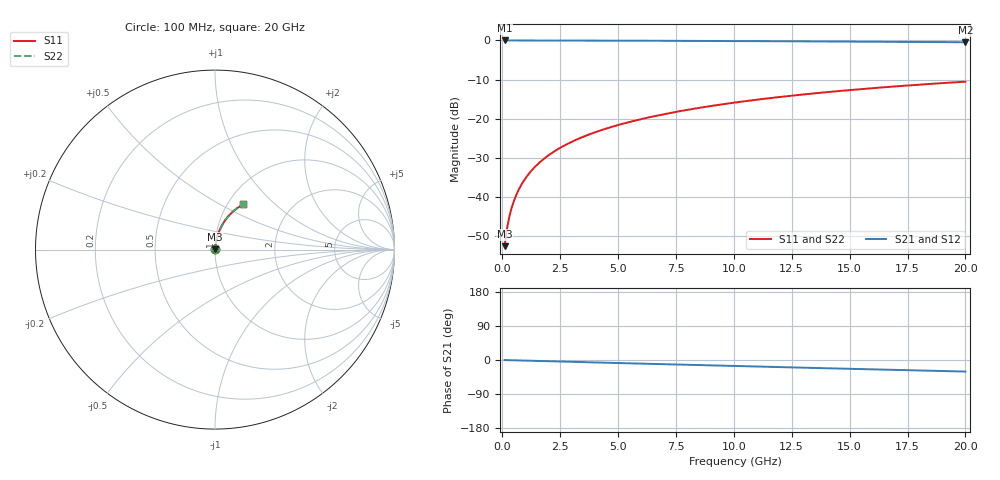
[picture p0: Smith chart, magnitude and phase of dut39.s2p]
! Touchstone file exported from HFSS 2026.1.0
!  File:  C:/ffzhzh/LocalFiles/Ansys_Project_Files/temp_train_BSMRDL_39_1782882349_13352.aedt
!  Generated:  01:07:08 PM Jul  1, 2026
!  Design:  BSMRDL
!  Project:  temp_train_BSMRDL_39_1782882349_13352
! Variables:
!  h_bsmrdl = 5.81um
!  h_ox = 20um
!  h_rdl = 5um
!  h_sub = 80um
!  h_tmrdl = 5um
!  h_tsv = 80um
!  h_via = 3um
!  l_bsmrdl = 425.81um
!  l_sub = 825.81um
!  l_tmrdl = 200um
!  m_sub = 200um
!  pitch = 48.39um
!  r_tsv = 6um
!  s_tmrdl = 10um
!  w_bsmrdl = 19.34um
!  w_sub = 500um
!  w_tmrdl = 12um
!  x_tsv_center1 = 206um
!  x_tsv_center2 = 651.15um
!  x_tsv_center3 = 863.15um
!  x_tsv_center4 = 1308.3um
!  x_tsv_center5 = 1520.3um
!  x_tsv_center6 = 1965.45um
# GHz S MA R 50.000000
! Terminal data exported
! Port[1] = BSM_RDL1_1_T1
! Port[2] = BSM_RDL1_1_T2
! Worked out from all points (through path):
!   200 points, 100 MHz to 20 GHz, reference 50 ohm
!   highest |S21| = -0.01 dB at 100 MHz (marker M1); lowest = -0.5 dB at 20 GHz (marker M2)
!   group delay of S21, straight-line fit = 4.23 ps
!   lowest |S11| = -52.6 dB at 100 MHz (marker M3), VSWR 1.00, Z = 50.1 + j0.182 ohm
!   |S11| at or under -10 dB: start of sweep to end of sweep
!   |S22| runs from -52.6 to -10.6 dB; largest |S21 - S12| = 3.6e-15
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0.1  0.002337 50.8  0.9985 -0.2  0.9985 -0.2  0.002337 50.8
! Gamma 0 0 0 0
! Port Impedance 50 0 50 0
0.2  0.003886 66.1  0.9984 -0.3  0.9984 -0.3  0.003886 66.1
0.3  0.00551 72.4  0.9984 -0.5  0.9984 -0.5  0.00551 72.4
0.4  0.007158 75.9  0.9983 -0.7  0.9983 -0.7  0.007158 75.9
0.5  0.008822 78.1  0.9983 -0.8  0.9983 -0.8  0.008822 78.1
0.7  0.01218 80.5  0.9982 -1.1  0.9982 -1.1  0.01218 80.5
0.8  0.01386 81.2  0.9981 -1.3  0.9981 -1.3  0.01386 81.2
1  0.01724 82.1  0.998 -1.6  0.998 -1.6  0.01724 82.1
1.2  0.02061 82.6  0.9978 -2.0  0.9978 -2.0  0.02061 82.6
1.4  0.02398 82.8  0.9977 -2.3  0.9977 -2.3  0.02398 82.8
1.7  0.02902 82.9  0.9974 -2.8  0.9974 -2.8  0.02902 82.9
2  0.03403 82.8  0.9971 -3.3  0.9971 -3.3  0.03403 82.8
2.7  0.04562 82.2  0.9962 -4.4  0.9962 -4.4  0.04562 82.1
3.5  0.05868 81.2  0.995 -5.6  0.995 -5.6  0.05868 81.2
4.2  0.06997 80.3  0.9939 -6.8  0.9939 -6.8  0.06997 80.3
5  0.08273 79.2  0.9925 -8.0  0.9925 -8.0  0.08273 79.2
6.8  0.111 76.7  0.989 -10.8  0.989 -10.8  0.111 76.7
8.3  0.1341 74.6  0.9856 -13.1  0.9856 -13.1  0.1341 74.6
10.1  0.1613 72.0  0.981 -15.9  0.981 -15.9  0.1613 72.0
13.4  0.2093 67.3  0.9712 -20.9  0.9712 -20.9  0.2093 67.3
16.7  0.2545 62.6  0.9597 -25.8  0.9597 -25.8  0.2545 62.6
20  0.2968 58.0  0.9471 -30.5  0.9471 -30.5  0.2968 58.0
